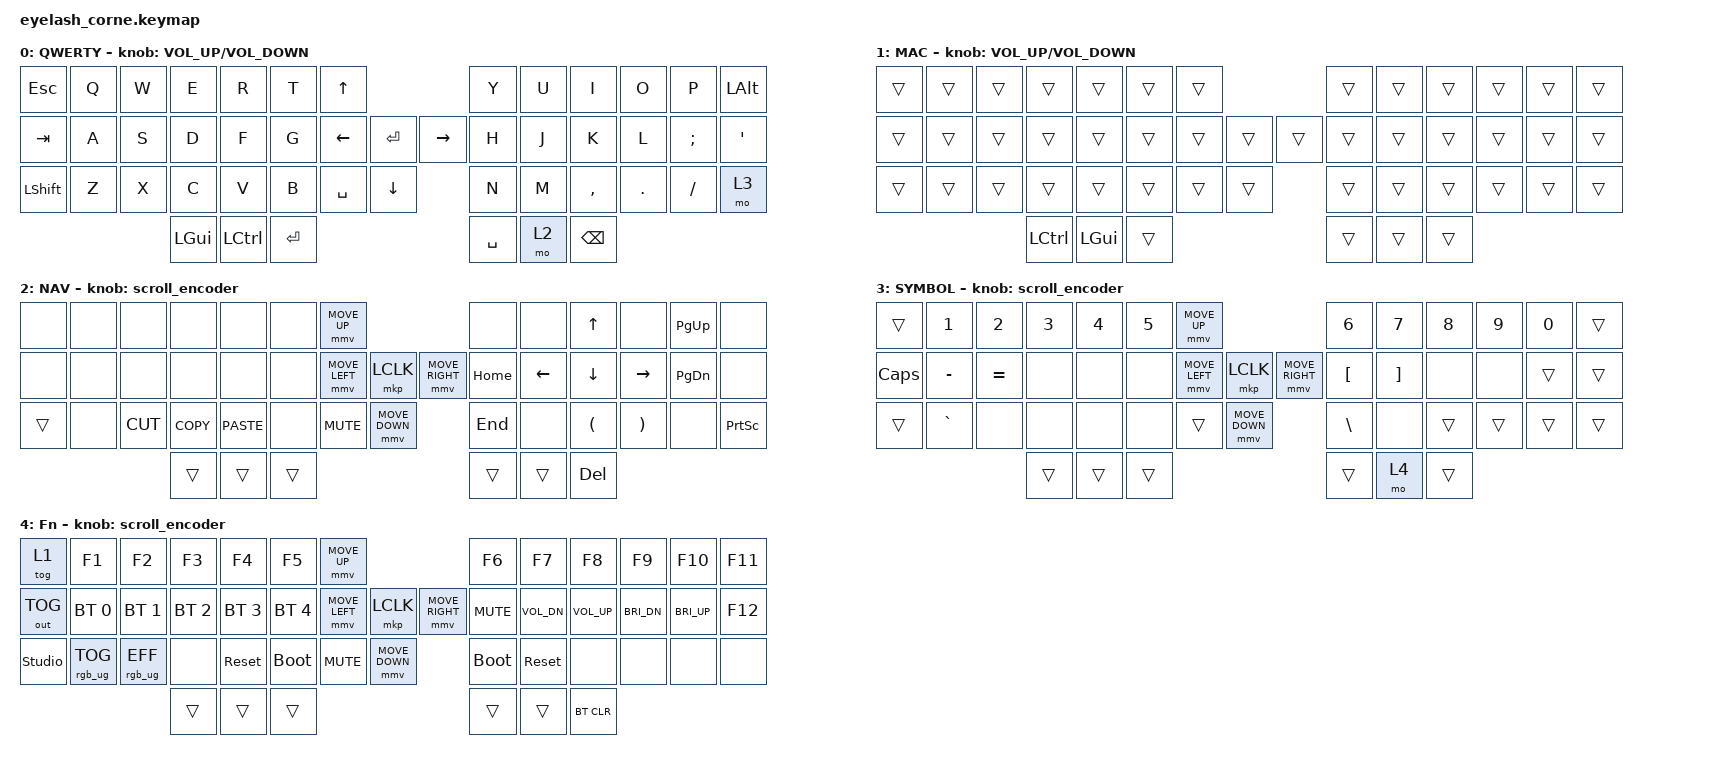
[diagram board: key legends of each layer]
#define ZMK_POINTING_DEFAULT_MOVE_VAL 1200  // 600
#define ZMK_POINTING_DEFAULT_SCRL_VAL 25   // 10

#include <input/processors.dtsi>
#include <zephyr/dt-bindings/input/input-event-codes.h>
#include <behaviors.dtsi>
#include <dt-bindings/zmk/bt.h>
#include <dt-bindings/zmk/ext_power.h>
#include <dt-bindings/zmk/keys.h>
#include <dt-bindings/zmk/outputs.h>
#include <dt-bindings/zmk/pointing.h>
#include <dt-bindings/zmk/rgb.h>

&mmv_input_listener { input-processors = <&zip_xy_scaler 2 1>; };

&msc_input_listener { input-processors = <&zip_scroll_scaler 2 1>; };

&msc {
    acceleration-exponent = <1>;      // 0
    time-to-max-speed-ms = <100>;       // 300
    delay-ms = <0>;                   // 0
};

&mmv {
    time-to-max-speed-ms = <500>;
    acceleration-exponent = <1>;
    trigger-period-ms = <16>;
};


/ {
//    behaviors {
//        td0: td0 {
//            compatible = "zmk,behavior-tap-dance";
//            display-name = "Shift/Caps Lock Tap Dance";
//            #binding-cells = <0>;
//            bindings = <&kp LEFT_SHIFT>, <&kp CAPS>;
//        };
//    };

//    rgb_encoder: rgb_encoder {
//        compatible = "zmk,behavior-sensor-rotate";
//        #sensor-binding-cells = <0>;
//        bindings = <&rgb_ug RGB_BRI>, <&rgb_ug RGB_BRD>;
//    };

    scroll_encoder: scroll_encoder {
        compatible = "zmk,behavior-sensor-rotate";
        #sensor-binding-cells = <0>;
        bindings = <&msc SCRL_DOWN>, <&msc SCRL_UP>;
        tap-ms = <100>;
    };

    keymap {
        compatible = "zmk,keymap";

        default_layer {
            display-name = "QWERTY";
            bindings = <
&kp ESC   &kp Q  &kp W  &kp E     &kp R     &kp T    &kp UP                           &kp Y     &kp U  &kp I      &kp O    &kp P     &kp LALT
&kp TAB   &kp A  &kp S  &kp D     &kp F     &kp G    &kp LEFT   &kp ENTER  &kp RIGHT  &kp H     &kp J  &kp K      &kp L    &kp SEMI  &kp SQT
&kp LSHFT &kp Z  &kp X  &kp C     &kp V     &kp B    &kp SPACE  &kp DOWN              &kp N     &kp M  &kp COMMA  &kp DOT  &kp FSLH  &mo 3
                       &kp LGUI  &kp LCTRL &kp RET                                   &kp SPACE   &mo 2  &kp BSPC
            >;
            sensor-bindings = <&inc_dec_kp C_VOLUME_UP C_VOLUME_DOWN>;
        };

        layer_1 {
            display-name = "MAC";
            bindings = <
&trans  &trans  &trans  &trans    &trans    &trans  &trans                  &trans  &trans  &trans  &trans  &trans  &trans
&trans  &trans  &trans  &trans    &trans    &trans  &trans  &trans  &trans  &trans  &trans  &trans  &trans  &trans  &trans
&trans  &trans  &trans  &trans    &trans    &trans  &trans  &trans          &trans  &trans  &trans  &trans  &trans  &trans
                        &kp LCTRL &kp LGUI  &trans                          &trans  &trans  &trans
            >;
            sensor-bindings = <&inc_dec_kp C_VOLUME_UP C_VOLUME_DOWN>;
        };

        layer_2 {
            display-name = "NAV";
            bindings = <
&none  &none &none     &none      &none       &none &mmv MOVE_UP                             &none    &none    &kp UP   &none     &kp PG_UP &none
&none  &none &none     &none      &none       &none &mmv MOVE_LEFT &mkp LCLK &mmv MOVE_RIGHT &kp HOME &kp LEFT &kp DOWN &kp RIGHT &kp PG_DN &none
&trans &none &kp K_CUT &kp K_COPY &kp K_PASTE &none &kp C_MUTE     &mmv MOVE_DOWN            &kp END  &none    &kp LPAR &kp RPAR  &none     &kp PSCRN
                       &trans     &trans      &trans                                         &trans   &trans   &kp DEL
            >;
            sensor-bindings = <&scroll_encoder>;
        };

        layer_3 {
            display-name = "SYMBOL";
            bindings = <
&trans   &kp N1    &kp N2    &kp N3 &kp N4 &kp N5 &mmv MOVE_UP                             &kp N6   &kp N7   &kp N8 &kp N9 &kp N0    &trans
&kp CAPS &kp MINUS &kp EQUAL &none  &none  &none  &mmv MOVE_LEFT &mkp LCLK &mmv MOVE_RIGHT &kp LBKT &kp RBKT &none  &none  &trans    &trans
&trans   &kp GRAVE &none     &none  &none  &none  &trans         &mmv MOVE_DOWN            &kp BSLH &none    &trans &trans &trans    &trans
                             &trans &trans &trans                                          &trans   &mo 4    &trans
            >;
            sensor-bindings = <&scroll_encoder>;
        };

        layer_4 {
            display-name = "Fn";
            bindings = <
&tog 1 &kp F1 &kp F2 &kp F3 &kp F4 &kp F5 &mmv MOVE_UP &kp F6 &kp F7 &kp F8 &kp F9 &kp F10 &kp F11 
&out OUT_TOG &bt BT_SEL 0 &bt BT_SEL 1 &bt BT_SEL 2 &bt BT_SEL 3 &bt BT_SEL 4 &mmv MOVE_LEFT &mkp LCLK &mmv MOVE_RIGHT &kp C_MUTE  &kp C_VOL_DN &kp C_VOL_UP &kp C_BRI_DN &kp C_BRI_UP &kp F12
&studio_unlock &rgb_ug RGB_TOG &rgb_ug RGB_EFF &none &sys_reset &bootloader &kp C_MUTE &mmv MOVE_DOWN &bootloader &sys_reset &none &none &none &none
                                       &trans       &trans       &trans       &trans      &trans       &bt BT_CLR
            >;
            sensor-bindings = <&scroll_encoder>;
        };
    };
};

